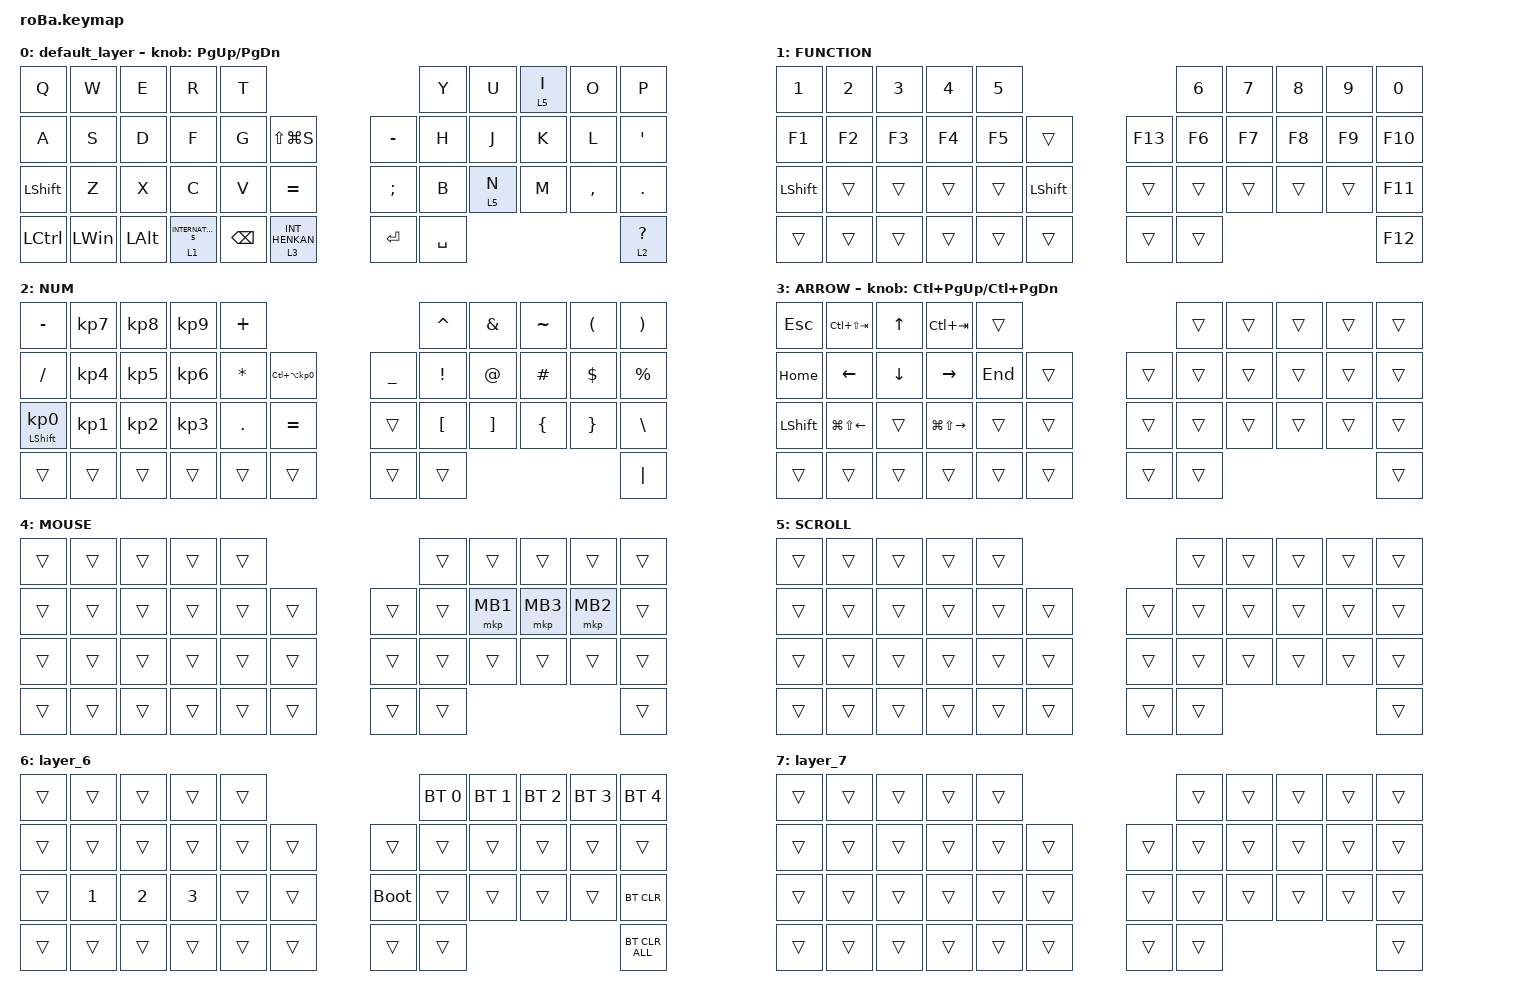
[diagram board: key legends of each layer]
#include <behaviors.dtsi>
#include <dt-bindings/zmk/bt.h>
#include <dt-bindings/zmk/keys.h>
#include <dt-bindings/zmk/pointing.h>

&mt {
    flavor = "balanced";
    quick-tap-ms = <0>;
};

&trackball {
    automouse-layer = <4>;
    scroll-layers = <5>;

    // arrows {
    //     layers = <3>;
    //     bindings =
    //         <&kp RIGHT_ARROW>,
    //         <&kp LEFT_ARROW>,
    //         <&kp UP_ARROW>,
    //         <&kp DOWN_ARROW>;
    //     tick = <10>;
    //     wait-ms = <5>;
    //     tap-ms = <5>;
    // };
};

/ {
    combos {
        compatible = "zmk,combos";

        tab {
            bindings = <&kp TAB>;
            key-positions = <11 12>;
        };

        shift_tab {
            bindings = <&kp LS(TAB)>;
            key-positions = <12 13>;
        };

        muhennkann {
            bindings = <&to_layer_0 INT_MUHENKAN>;
            key-positions = <11 10>;
        };

        double_quotation {
            bindings = <&kp DOUBLE_QUOTES>;
            key-positions = <20 21>;
        };

        eq {
            bindings = <&kp EQUAL>;
            key-positions = <24 25>;
        };
    };

    macros {
        to_layer_0: to_layer_0 {
            compatible = "zmk,behavior-macro-one-param";
            #binding-cells = <1>;
            bindings = <&to 0 &macro_param_1to1 &kp MACRO_PLACEHOLDER>;
            label = "TO_LAYER_0";
        };
    };

    behaviors {
        lt_to_layer_0: lt_to_layer_0 {
            compatible = "zmk,behavior-hold-tap";
            label = "LAYER_TAP_TO_0";
            bindings = <&mo>, <&to_layer_0>;

            #binding-cells = <2>;
            tapping-term-ms = <200>;
        };
    };

    keymap {
        compatible = "zmk,keymap";

        default_layer {
            bindings = <
&kp Q           &kp W         &kp E         &kp R                  &kp T                                                          &kp Y      &kp U    &lt 5 I  &kp O      &kp P
&kp A           &kp S         &kp D         &kp F                  &kp G          &kp LS(LG(S))                    &kp MINUS      &kp H      &kp J    &kp K    &kp L      &kp SQT
&kp LEFT_SHIFT  &kp Z         &kp X         &kp C                  &kp V          &kp EQUAL                        &kp SEMICOLON  &kp B      &lt 5 N  &kp M    &kp COMMA  &kp PERIOD
&kp LCTRL       &kp LEFT_WIN  &kp LEFT_ALT  &lt 1 INTERNATIONAL_5  &kp BACKSPACE  &lt_to_layer_0 3 INT_HENKAN      &kp ENTER      &kp SPACE                               &lt 2 QUESTION
            >;

            sensor-bindings = <&inc_dec_kp PG_UP PAGE_DOWN>;
        };

        FUNCTION {
            bindings = <
&kp NUMBER_1    &kp NUMBER_2  &kp NUMBER_3  &kp NUMBER_4  &kp N5                               &kp NUMBER_6  &kp N7  &kp N8  &kp N9  &kp N0
&kp F1          &kp F2        &kp F3        &kp F4        &kp F5  &trans              &kp F13  &kp F6        &kp F7  &kp F8  &kp F9  &kp F10
&kp LEFT_SHIFT  &trans        &trans        &trans        &trans  &kp LEFT_SHIFT      &trans   &trans        &trans  &trans  &trans  &kp F11
&trans          &trans        &trans        &trans        &trans  &trans              &trans   &trans                                &kp F12
            >;
        };

        NUM {
            bindings = <
&kp MINUS                   &kp KP_NUMBER_7  &kp KP_NUMBER_8  &kp KP_NUMBER_9  &kp PLUS                                                   &kp CARET         &kp AMPERSAND      &kp TILDE       &kp LEFT_PARENTHESIS  &kp RIGHT_PARENTHESIS
&kp SLASH                   &kp KP_NUMBER_4  &kp KP_NUMBER_5  &kp KP_NUMBER_6  &kp ASTERISK  &kp LC(LA(KP_NUMBER_0))      &kp UNDERSCORE  &kp EXCLAMATION   &kp AT_SIGN        &kp HASH        &kp DOLLAR            &kp PERCENT
&mt LEFT_SHIFT KP_NUMBER_0  &kp KP_NUMBER_1  &kp KP_NUMBER_2  &kp KP_NUMBER_3  &kp PERIOD    &kp EQUAL                    &trans          &kp LEFT_BRACKET  &kp RIGHT_BRACKET  &kp LEFT_BRACE  &kp RIGHT_BRACE       &kp BACKSLASH
&trans                      &trans           &trans           &trans           &trans        &trans                       &trans          &trans                                                                     &kp PIPE
            >;
        };

        ARROW {
            bindings = <
&kp ESCAPE      &kp LC(LS(TAB))         &kp UP_ARROW    &kp LC(TAB)              &trans                       &trans  &trans  &trans  &trans  &trans
&kp HOME        &kp LEFT_ARROW          &kp DOWN_ARROW  &kp RIGHT_ARROW          &kp END  &trans      &trans  &trans  &trans  &trans  &trans  &trans
&kp LEFT_SHIFT  &kp LG(LS(LEFT_ARROW))  &trans          &kp LG(LS(RIGHT_ARROW))  &trans   &trans      &trans  &trans  &trans  &trans  &trans  &trans
&trans          &trans                  &trans          &trans                   &trans   &trans      &trans  &trans                          &trans
            >;

            sensor-bindings = <&inc_dec_kp LC(PAGE_UP) LC(PAGE_DOWN)>;
        };

        MOUSE {
            bindings = <
&trans  &trans  &trans  &trans  &trans                      &trans  &trans    &trans    &trans    &trans
&trans  &trans  &trans  &trans  &trans  &trans      &trans  &trans  &mkp MB1  &mkp MB3  &mkp MB2  &trans
&trans  &trans  &trans  &trans  &trans  &trans      &trans  &trans  &trans    &trans    &trans    &trans
&trans  &trans  &trans  &trans  &trans  &trans      &trans  &trans                                &trans
            >;
        };

        SCROLL {
            bindings = <
&trans  &trans  &trans  &trans  &trans                      &trans  &trans  &trans  &trans  &trans
&trans  &trans  &trans  &trans  &trans  &trans      &trans  &trans  &trans  &trans  &trans  &trans
&trans  &trans  &trans  &trans  &trans  &trans      &trans  &trans  &trans  &trans  &trans  &trans
&trans  &trans  &trans  &trans  &trans  &trans      &trans  &trans                          &trans
            >;
        };

        layer_6 {
            bindings = <
&trans  &trans        &trans        &trans        &trans                           &bt BT_SEL 0  &bt BT_SEL 1  &bt BT_SEL 2  &bt BT_SEL 3  &bt BT_SEL 4
&trans  &trans        &trans        &trans        &trans  &trans      &trans       &trans        &trans        &trans        &trans        &trans
&trans  &kp NUMBER_1  &kp NUMBER_2  &kp NUMBER_3  &trans  &trans      &bootloader  &trans        &trans        &trans        &trans        &bt BT_CLR
&trans  &trans        &trans        &trans        &trans  &trans      &trans       &trans                                                  &bt BT_CLR_ALL
            >;
        };

        layer_7 {
            bindings = <
&trans  &trans  &trans  &trans  &trans                      &trans  &trans  &trans  &trans  &trans
&trans  &trans  &trans  &trans  &trans  &trans      &trans  &trans  &trans  &trans  &trans  &trans
&trans  &trans  &trans  &trans  &trans  &trans      &trans  &trans  &trans  &trans  &trans  &trans
&trans  &trans  &trans  &trans  &trans  &trans      &trans  &trans                          &trans
            >;
        };
    };
};
